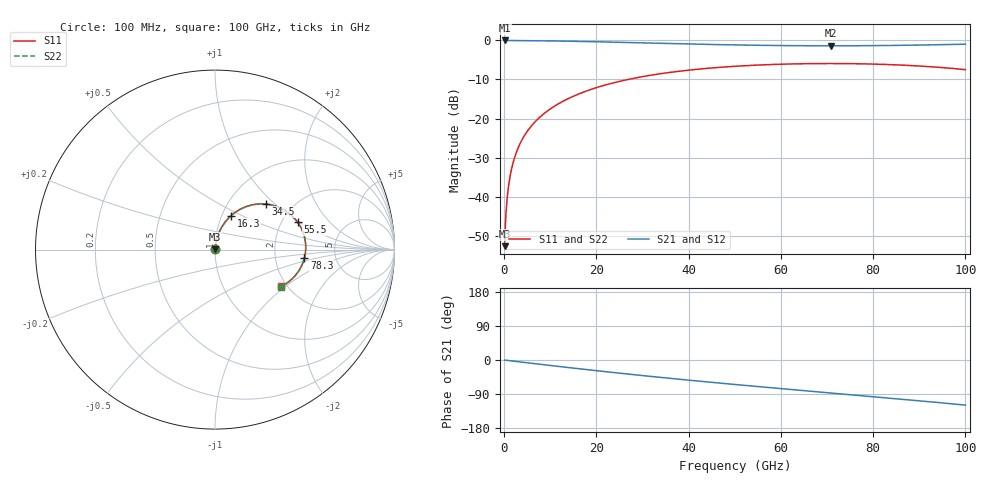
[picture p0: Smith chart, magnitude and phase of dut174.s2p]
! Touchstone file exported from HFSS 2026.1.0
!  File:  C:/ffzhzh/LocalFiles/Ansys_Project_Files/temp_train_RDL_174_1783500287_41296.aedt
!  Generated:  04:46:00 PM Jul  8, 2026
!  Design:  RDL
!  Project:  temp_train_RDL_174_1783500287_41296
! Variables:
!  h_bsmrdl = 2um
!  h_ox = 20um
!  h_rdl = 5um
!  h_sub = 80um
!  h_tmrdl = 4.05um
!  h_tsv = 80um
!  h_via = 3um
!  l_bsmrdl = 300um
!  l_sub = 801.83um
!  l_tmrdl = 401.83um
!  m_sub = 200um
!  pitch = 46.27um
!  r_tsv = 6um
!  s_tmrdl = 10um
!  w_bsmrdl = 18um
!  w_sub = 500um
!  w_tmrdl = 22.85um
!  x_tsv_center1 = 413.255um
!  x_tsv_center2 = 731.255um
!  x_tsv_center3 = 1155.935um
!  x_tsv_center4 = 1473.935um
!  x_tsv_center5 = 1898.615um
!  x_tsv_center6 = 2216.615um
# GHz S MA R 50.000000
! Terminal data exported
! Port[1] = TM_RDL1_1_T1
! Port[2] = TM_RDL1_1_T2
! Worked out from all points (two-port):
!   1000 points, 100 MHz to 100 GHz, reference 50 ohm
!   highest |S21| = -0.02 dB at 100 MHz (marker M1); lowest = -1.4 dB at 70.8 GHz (marker M2)
!   |S21| within 3 dB of the highest: start of sweep to end of sweep
!   lowest |S11| = -52.7 dB at 100 MHz (marker M3), VSWR 1.00, Z = 50.2 + j0.155 ohm
!   |S11| at or under -10 dB: start of sweep to 26.86 GHz
!   |S22| runs from -52.7 to -5.9 dB; largest |S21 - S12| = 1.6e-14
!   S11 on the Smith chart (normalised r, x): 100 MHz: 1.00, +0.00; 16.3 GHz: 1.10, +0.43; 34.5 GHz: 1.48, +0.87; 55.5 GHz: 2.42, +0.97; 78.3 GHz: 2.95, -0.37; 100 GHz: 1.87, -0.93
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0.1  0.002324 41.8  0.9983 -0.2  0.9983 -0.2  0.002324 41.8
! Gamma 0 0 0 0
! Port Impedance 50 0 50 0
0.8  0.01154 78.0  0.9977 -1.2  0.9977 -1.2  0.01154 77.9
1.1  0.01564 80.0  0.9976 -1.6  0.9976 -1.6  0.01564 80.0
1.4  0.01975 81.1  0.9975 -2.1  0.9975 -2.1  0.01975 81.1
1.9  0.02661 81.8  0.9971 -2.8  0.9971 -2.8  0.02661 81.8
2.4  0.03345 81.9  0.9968 -3.5  0.9968 -3.5  0.03345 81.9
3.9  0.05379 80.7  0.9952 -5.7  0.9952 -5.7  0.05379 80.7
6  0.08161 78.2  0.9924 -8.8  0.9924 -8.8  0.08161 78.2
8.7  0.1163 74.8  0.9879 -12.6  0.9879 -12.6  0.1163 74.7
12.1  0.1584 70.3  0.981 -17.4  0.981 -17.4  0.1584 70.3
16.3  0.2077 64.8  0.9708 -23.2  0.9708 -23.2  0.2077 64.8
16.8  0.2134 64.2  0.9695 -23.9  0.9695 -23.9  0.2134 64.1
24.2  0.2912 54.7  0.9481 -33.7  0.9481 -33.7  0.2912 54.6
33.4  0.3709 43.3  0.9193 -45.3  0.9193 -45.3  0.3709 43.2
34.5  0.3791 42.0  0.9159 -46.7  0.9159 -46.7  0.3791 41.9
50.1  0.4665 24.3  0.8747 -64.7  0.8747 -64.7  0.4665 24.2
55.5  0.4847 18.5  0.8649 -70.6  0.8649 -70.6  0.4847 18.3
66.7  0.5045 6.7  0.8535 -82.6  0.8535 -82.6  0.5045 6.5
70.8  0.5059 2.5  0.8527 -86.9  0.8527 -86.9  0.5059 2.3
78.3  0.5004 -5.3  0.8556 -94.9  0.8556 -94.9  0.5003 -5.6
83.4  0.4905 -10.7  0.8609 -100.4  0.8609 -100.4  0.4905 -11.0
100  0.4223 -28.9  0.8944 -119.1  0.8944 -119.1  0.4223 -29.3
